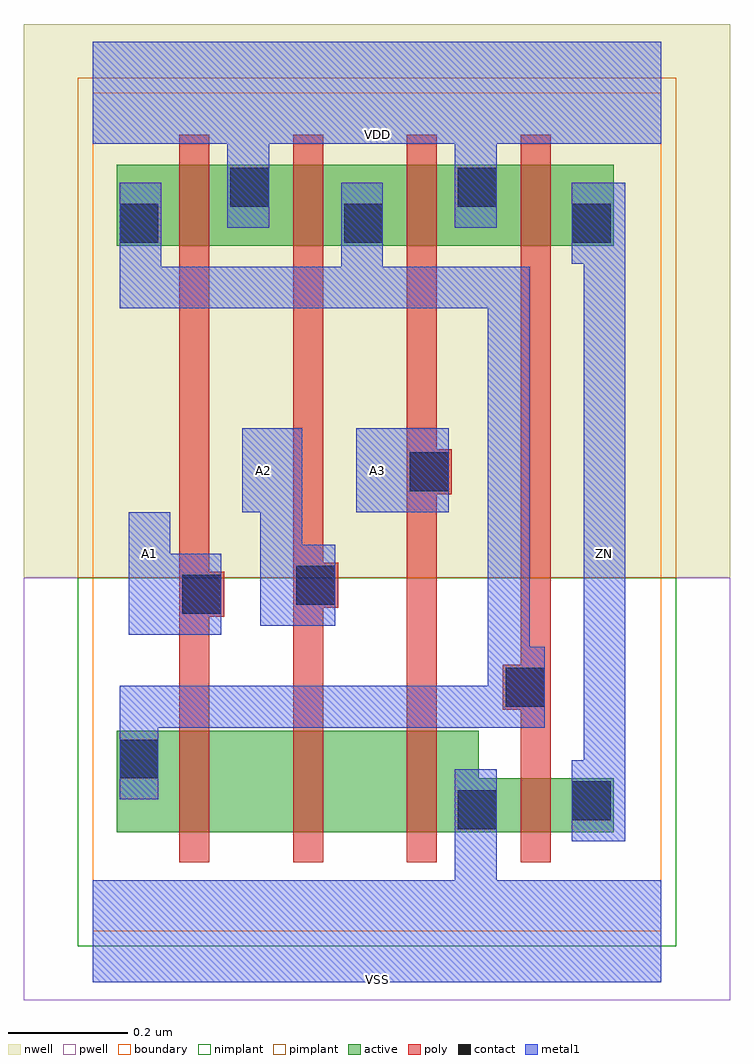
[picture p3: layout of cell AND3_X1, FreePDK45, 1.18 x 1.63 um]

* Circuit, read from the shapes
.subckt AND3_X1 A1 A2 A3 VDD VSS ZN
M1 n1 A1 n2 VSUBS nfet w=0.17u l=0.05u
M2 n3 A2 n1 VSUBS nfet w=0.17u l=0.05u
M3 VSS A3 n3 VSUBS nfet w=0.17u l=0.05u
M4 ZN n2 VSS VSUBS nfet w=0.09u l=0.05u
M5 VDD A1 n2 n4 pfet w=0.135u l=0.05u
M6 n2 A2 VDD n4 pfet w=0.135u l=0.05u
M7 VDD A3 n2 n4 pfet w=0.135u l=0.05u
M8 ZN n2 VDD n4 pfet w=0.135u l=0.05u
.ends

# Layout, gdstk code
import gdstk
lib = gdstk.Library(unit=1e-6, precision=1e-10)
def R(c, l, rs):  # rectangles x0, y0, x1, y1
    for r in rs: c.add(gdstk.rectangle(r[:2], r[2:], *l))
def P(c, l, *ps):  # polygons
    for p in ps: c.add(gdstk.Polygon(p, *l))
active = (1, 0)
pwell = (2, 0)
nwell = (3, 0)
nimplant = (4, 0)
pimplant = (5, 0)
poly = (9, 0)
contact = (10, 0)
metal1 = (11, 0)
boundary = (235, 0)

and3_x1 = lib.new_cell('AND3_X1')
R(and3_x1, active, [(0.04,1.145,0.87,1.28)])
P(and3_x1, active, [(0.04,0.165),(0.87,0.165),(0.87,0.255),(0.645,0.255),(0.645,0.335),(0.04,0.335)])
R(and3_x1, pwell, [(-0.115,-0.115,1.065,0.59)])
R(and3_x1, nwell, [(-0.115,0.59,1.065,1.515)])
R(and3_x1, nimplant, [(-0.025,-0.025,0.975,0.59)])
R(and3_x1, pimplant, [(-0.025,0.59,0.975,1.425)])
P(and3_x1, poly, [(0.145,0.115),(0.195,0.115),(0.195,0.525),(0.22,0.525),(0.22,0.6),(0.195,0.6),(0.195,1.33),(0.145,1.33)],
  [(0.335,0.115),(0.385,0.115),(0.385,0.54),(0.41,0.54),(0.41,0.615),(0.385,0.615),(0.385,1.33),(0.335,1.33)],
  [(0.525,0.115),(0.575,0.115),(0.575,0.73),(0.6,0.73),(0.6,0.805),(0.575,0.805),(0.575,1.33),(0.525,1.33)],
  [(0.685,0.37),(0.715,0.37),(0.715,0.115),(0.765,0.115),(0.765,1.33),(0.715,1.33),(0.715,0.445),(0.685,0.445)])
R(and3_x1, contact, [(0.61,0.17,0.675,0.235), (0.8,0.185,0.865,0.25), (0.045,0.255,0.11,0.32), (0.69,0.375,0.755,0.44), (0.15,0.53,0.215,0.595), (0.34,0.545,0.405,0.61), (0.53,0.735,0.595,0.8), (0.045,1.15,0.11,1.215), (0.42,1.15,0.485,1.215), (0.8,1.15,0.865,1.215), (0.23,1.21,0.295,1.275), (0.61,1.21,0.675,1.275)])
R(and3_x1, metal1, [(0.44,0.7,0.595,0.84)])
P(and3_x1, metal1, [(0.06,0.495),(0.215,0.495),(0.215,0.63),(0.13,0.63),(0.13,0.7),(0.06,0.7)],
  [(0.25,0.7),(0.28,0.7),(0.28,0.51),(0.405,0.51),(0.405,0.645),(0.35,0.645),(0.35,0.84),(0.25,0.84)],
  [(0.045,1.04),(0.66,1.04),(0.66,0.41),(0.045,0.41),(0.045,0.22),(0.11,0.22),(0.11,0.34),(0.755,0.34),(0.755,0.475),(0.73,0.475),(0.73,1.11),(0.485,1.11),(0.485,1.25),(0.415,1.25),(0.415,1.11),(0.115,1.11),(0.115,1.25),(0.045,1.25)],
  [(0.8,1.115),(0.82,1.115),(0.82,0.285),(0.8,0.285),(0.8,0.15),(0.89,0.15),(0.89,1.25),(0.8,1.25)],
  [(0,-0.085),(0.95,-0.085),(0.95,0.085),(0.675,0.085),(0.675,0.27),(0.605,0.27),(0.605,0.085),(0,0.085)],
  [(0,1.315),(0.225,1.315),(0.225,1.175),(0.295,1.175),(0.295,1.315),(0.605,1.315),(0.605,1.175),(0.675,1.175),(0.675,1.315),(0.95,1.315),(0.95,1.485),(0,1.485)])
R(and3_x1, boundary, [(0,0,0.95,1.4)])
and3_x1.add(gdstk.Label('A1', (0.095,0.63), layer=11, texttype=0))
and3_x1.add(gdstk.Label('A2', (0.285,0.77), layer=11, texttype=0))
and3_x1.add(gdstk.Label('A3', (0.475,0.77), layer=11, texttype=0))
and3_x1.add(gdstk.Label('VDD', (0.475,1.33), layer=11, texttype=0))
and3_x1.add(gdstk.Label('VSS', (0.475,-0.08), layer=11, texttype=0))
and3_x1.add(gdstk.Label('ZN', (0.855,0.63), layer=11, texttype=0))

lib.write_gds('AND3_X1.gds')
